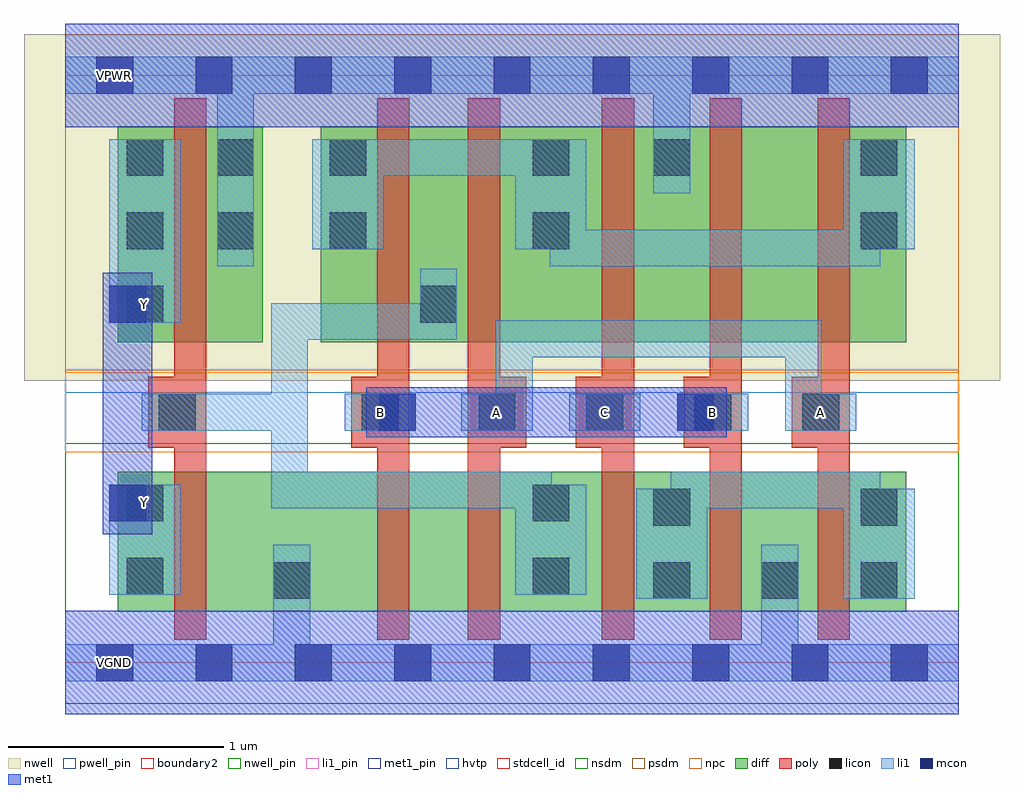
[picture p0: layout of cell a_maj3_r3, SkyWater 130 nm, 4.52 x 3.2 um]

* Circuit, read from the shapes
.subckt a_maj3_r3 A B C VGND VNB VPB VPWR Y
XM1 VGND n1 Y VNB sky130_fd_pr__nfet_01v8 w=0.65 l=0.15
XM2 n2 B VGND VNB sky130_fd_pr__nfet_01v8 w=0.65 l=0.15
XM3 n1 A n2 VNB sky130_fd_pr__nfet_01v8 w=0.65 l=0.15
XM4 n3 C n1 VNB sky130_fd_pr__nfet_01v8 w=0.65 l=0.15
XM5 VGND B n3 VNB sky130_fd_pr__nfet_01v8 w=0.65 l=0.15
XM6 n3 A VGND VNB sky130_fd_pr__nfet_01v8 w=0.65 l=0.15
XM7 VPWR n1 Y VPB sky130_fd_pr__pfet_01v8_hvt w=1 l=0.15
XM8 n1 B n4 VPB sky130_fd_pr__pfet_01v8_hvt w=1 l=0.15
XM9 n4 A n1 VPB sky130_fd_pr__pfet_01v8_hvt w=1 l=0.15
XM10 VPWR C n4 VPB sky130_fd_pr__pfet_01v8_hvt w=1 l=0.15
XM11 n5 B VPWR VPB sky130_fd_pr__pfet_01v8_hvt w=1 l=0.15
XM12 n4 A n5 VPB sky130_fd_pr__pfet_01v8_hvt w=1 l=0.15
.ends

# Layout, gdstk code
import gdstk
lib = gdstk.Library(unit=1e-6, precision=1e-09)
def R(c, l, rs):  # rectangles x0, y0, x1, y1
    for r in rs: c.add(gdstk.rectangle(r[:2], r[2:], *l))
def A(c, l, x, y, w, h, nx, ny, dx, dy):  # array of equal rectangles
    R(c, l, [(x+i*dx, y+j*dy, x+i*dx+w, y+j*dy+h) for i in range(nx) for j in range(ny)])
nwell_pin = (64, 16)
nwell = (64, 20)
diff = (65, 20)
poly = (66, 20)
licon = (66, 44)
li1_pin = (67, 16)
li1 = (67, 20)
mcon = (67, 44)
met1_pin = (68, 16)
met1 = (68, 20)
hvtp = (78, 44)
stdcell_id = (81, 4)
nsdm = (93, 44)
psdm = (94, 20)
npc = (95, 20)
pwell_pin = (122, 16)
boundary2 = (236, 0)

a_maj3_r3 = lib.new_cell('a_maj3_r3')
R(a_maj3_r3, nwell_pin, [(0.145,2.635,0.315,2.805)])
R(a_maj3_r3, nwell, [(-0.19,1.305,4.33,2.91)])
R(a_maj3_r3, diff, [(0.245,0.235,1.05,0.885), (1.05,0.235,1.73,0.885), (1.73,0.235,2.25,0.885), (2.25,0.235,2.81,0.885), (2.81,0.235,3.31,0.885), (3.31,0.235,3.895,0.885), (0.245,1.485,0.915,2.485), (1.185,1.485,1.73,2.485), (1.73,1.485,2.25,2.485), (2.25,1.485,2.81,2.485), (2.81,1.485,3.31,2.485), (3.31,1.485,3.895,2.485)])
A(a_maj3_r3, poly, 2.485, 0.105, 0.15, 2.51, 3, 1, 0.5, 0)
A(a_maj3_r3, poly, 1.865, 0.995, 0.27, 0.33, 4, 1, 0.5, 0)
R(a_maj3_r3, poly, [(0.505,0.105,0.655,2.615), (1.445,0.105,1.595,2.615), (1.865,0.105,2.015,2.615), (0.385,0.995,0.655,1.325), (1.325,0.995,1.595,1.325)])
A(a_maj3_r3, licon, 1.915, 1.075, 0.17, 0.17, 4, 1, 0.5, 0)
A(a_maj3_r3, licon, 0.285, 1.575, 0.17, 0.17, 1, 3, 0, 0.34)
R(a_maj3_r3, licon, [(0.965,0.295,1.135,0.465), (2.725,0.295,2.895,0.465), (3.225,0.295,3.395,0.465), (3.685,0.295,3.855,0.465), (0.285,0.315,0.455,0.485), (2.165,0.315,2.335,0.485), (2.725,0.635,2.895,0.805), (3.685,0.635,3.855,0.805), (0.285,0.655,0.455,0.825), (2.165,0.655,2.335,0.825), (0.435,1.075,0.605,1.245), (1.375,1.075,1.545,1.245), (1.645,1.575,1.815,1.745), (0.705,1.915,0.875,2.085), (1.225,1.915,1.395,2.085), (2.165,1.915,2.335,2.085), (3.685,1.915,3.855,2.085), (0.705,2.255,0.875,2.425), (1.225,2.255,1.395,2.425), (2.165,2.255,2.335,2.425), (2.725,2.255,2.895,2.425), (3.685,2.255,3.855,2.425)])
A(a_maj3_r3, li1_pin, 1.915, 1.075, 0.17, 0.17, 4, 1, 0.5, 0)
R(a_maj3_r3, li1_pin, [(0.285,0.655,0.455,0.825), (1.375,1.075,1.545,1.245), (0.285,1.575,0.455,1.745)])
A(a_maj3_r3, li1, 1.835, 1.075, 0.33, 0.17, 4, 1, 0.5, 0)
A(a_maj3_r3, li1, 0.205, 1.915, 0.33, 0.51, 3, 1, 0.94, 0)
R(a_maj3_r3, li1, [(0,-0.085,4.14,0.085), (0.965,-0.085,1.135,0.545), (3.225,-0.085,3.395,0.545), (2.645,0.295,2.975,0.465), (2.645,0.295,2.975,0.805), (2.805,0.295,2.975,0.885), (3.605,0.295,3.935,0.465), (3.605,0.295,3.775,0.885), (3.605,0.295,3.935,0.805), (0.205,0.315,0.535,0.825), (2.085,0.315,2.415,0.825), (0.205,0.655,0.535,0.825), (2.085,0.655,2.415,0.825), (2.085,0.655,2.255,0.885), (0.955,0.715,1.125,1.245), (0.955,0.715,2.255,0.885), (2.805,0.715,3.775,0.885), (0.355,1.075,0.685,1.245), (0.515,1.075,1.125,1.245), (0.955,1.075,1.125,1.665), (1.295,1.075,1.625,1.245), (1.995,1.075,2.165,1.585), (3.335,1.075,3.505,1.585), (1.995,1.415,3.505,1.585), (0.955,1.495,1.815,1.665), (1.645,1.495,1.815,1.825), (0.205,1.575,0.535,1.745), (0.205,1.575,0.535,2.085), (0.705,1.835,0.875,2.425), (2.245,1.835,2.415,2.425), (2.245,1.835,3.775,2.005), (3.605,1.835,3.775,2.425), (3.605,1.915,3.935,2.425), (0.705,2.175,0.875,2.805), (2.725,2.175,2.895,2.805), (1.145,2.255,1.475,2.425), (1.305,2.255,2.255,2.425), (2.085,2.255,2.415,2.425), (3.605,2.255,3.935,2.425), (0,2.635,4.14,2.805)])
A(a_maj3_r3, mcon, 0.145, -0.085, 0.17, 0.17, 9, 2, 0.46, 2.72)
R(a_maj3_r3, mcon, [(0.205,0.655,0.375,0.825), (1.455,1.075,1.625,1.245), (2.835,1.075,3.005,1.245), (0.205,1.575,0.375,1.745)])
R(a_maj3_r3, met1_pin, [(0.145,-0.085,0.315,0.085), (0.145,2.635,0.315,2.805)])
R(a_maj3_r3, met1, [(0,-0.24,4.14,0.24), (0.175,0.595,0.405,0.885), (0.175,0.625,0.405,1.775), (1.395,1.045,1.685,1.275), (1.425,1.045,3.035,1.275), (2.775,1.045,3.065,1.275), (0.175,1.515,0.405,1.805), (0,2.48,4.14,2.96)])
R(a_maj3_r3, hvtp, [(0,1.25,4.14,2.72)])
R(a_maj3_r3, stdcell_id, [(0,0,4.14,2.72)])
R(a_maj3_r3, nsdm, [(0,-0.19,4.14,1.015)])
R(a_maj3_r3, psdm, [(0,1.355,4.14,2.91)])
R(a_maj3_r3, npc, [(0,0.975,4.14,1.345)])
R(a_maj3_r3, pwell_pin, [(0.145,-0.085,0.315,0.085)])
R(a_maj3_r3, boundary2, [(0,0,4.14,2.72)])
a_maj3_r3.add(gdstk.Label('A', (2,1.16), layer=67, texttype=5))
a_maj3_r3.add(gdstk.Label('A', (3.5,1.16), layer=67, texttype=5))
a_maj3_r3.add(gdstk.Label('B', (1.46,1.16), layer=67, texttype=5))
a_maj3_r3.add(gdstk.Label('B', (3,1.16), layer=67, texttype=5))
a_maj3_r3.add(gdstk.Label('C', (2.5,1.16), layer=67, texttype=5))
a_maj3_r3.add(gdstk.Label('Y', (0.37,0.74), layer=67, texttype=5))
a_maj3_r3.add(gdstk.Label('Y', (0.37,1.66), layer=67, texttype=5))
a_maj3_r3.add(gdstk.Label('VGND', (0.23,0), layer=68, texttype=5))
a_maj3_r3.add(gdstk.Label('VPWR', (0.23,2.72), layer=68, texttype=5))
a_maj3_r3.add(gdstk.Label('VPB', (0.23,2.72), layer=64, texttype=5))
a_maj3_r3.add(gdstk.Label('VNB', (0.23,0), layer=64, texttype=59))

lib.write_gds('a_maj3_r3.gds')
